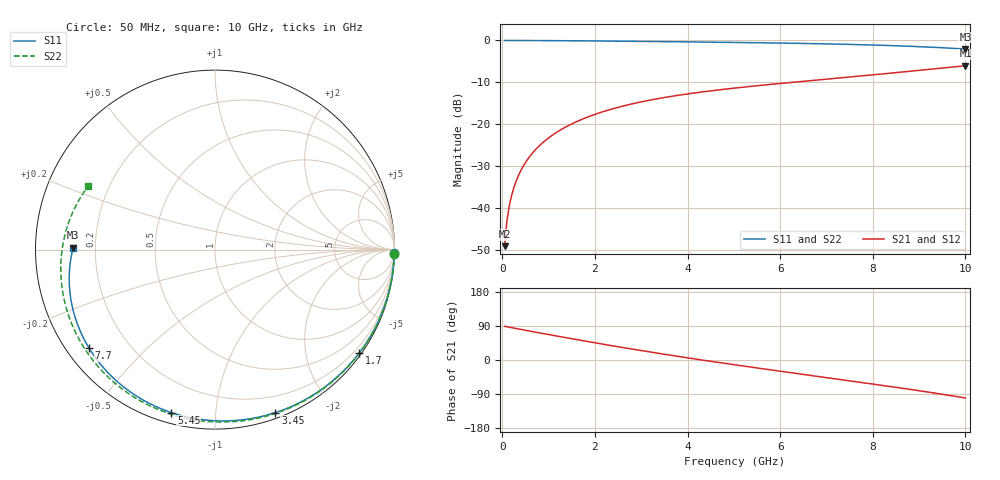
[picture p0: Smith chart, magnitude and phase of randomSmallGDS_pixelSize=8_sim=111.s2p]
! freq	dB(S11)	phase(S11)	dB(S12)	phase(S12)
!  dB(S21)	phase(S21)	dB(S22)	phase(S22)
!S-par simulation data
#  GHz  S  DB  R 50
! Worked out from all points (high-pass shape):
!   200 points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, 50 MHz to 10 GHz, reference 50 ohm
!   highest |S21| = -6.04 dB at 10 GHz (marker M1); lowest = -49.1 dB at 50 MHz (marker M2)
!   |S21| within 3 dB of the highest: 7.195 GHz to end of sweep
!   lowest |S11| = -2.0 dB at 10 GHz (marker M3), VSWR 8.52, Z = 5.87 + j0.354 ohm
!   |S11| at or under -10 dB: nowhere
!   |S22| runs from -2.1 to 0.0 dB; largest |S21 - S12| = 0
!   S11 on the Smith chart (normalised r, x): 50 MHz: open; 1.7 GHz: 0.06, -3.11; 3.45 GHz: 0.05, -1.44; 5.45 GHz: 0.05, -0.77; 7.7 GHz: 0.06, -0.34; 10 GHz: 0.12, +0.01
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0.05  -0.01 -1.1  -49.07 88.8  -49.07 88.8  -0.01 -1.2
0.1  -0.01 -2.2  -43.05 87.7  -43.05 87.7  -0.01 -2.4
0.15  -0.01 -3.2  -39.53 86.5  -39.53 86.5  -0.01 -3.6
0.2  -0.01 -4.3  -37.04 85.3  -37.04 85.3  -0.01 -4.8
0.3  -0.01 -6.4  -33.53 83.0  -33.53 83.0  -0.02 -7.2
0.45  -0.02 -9.6  -30.03 79.5  -30.03 79.5  -0.02 -10.8
0.65  -0.03 -13.8  -26.88 75.0  -26.88 75.0  -0.03 -15.6
0.95  -0.04 -20.1  -23.67 68.2  -23.67 68.2  -0.05 -22.8
1.3  -0.07 -27.4  -21.07 60.5  -21.07 60.5  -0.07 -31.0
1.7  -0.10 -35.6  -18.90 51.8  -18.90 51.8  -0.11 -40.3
1.75  -0.10 -36.6  -18.68 50.7  -18.68 50.7  -0.11 -41.4
2.6  -0.19 -53.5  -15.67 33.0  -15.67 33.0  -0.19 -60.4
3.4  -0.27 -68.7  -13.81 17.1  -13.81 17.1  -0.28 -77.4
3.45  -0.28 -69.7  -13.71 16.1  -13.71 16.1  -0.29 -78.4
4.25  -0.37 -84.2  -12.38 1.1  -12.38 1.1  -0.38 -94.6
5.05  -0.48 -98.1  -11.33 -13.2  -11.33 -13.2  -0.49 -110.1
5.45  -0.54 -104.9  -10.86 -20.2  -10.86 -20.2  -0.55 -117.7
6.7  -0.76 -125.6  -9.55 -41.3  -9.55 -41.3  -0.78 -140.9
7.7  -1.00 -141.9  -8.53 -58.1  -8.53 -58.1  -1.02 -159.6
8.35  -1.22 -152.6  -7.84 -69.4  -7.84 -69.4  -1.24 -172.1
9.2  -1.58 -166.9  -6.92 -84.7  -6.92 -84.7  -1.60 170.7
10  -2.05 179.2  -6.04 -100.3  -6.04 -100.3  -2.05 153.3
